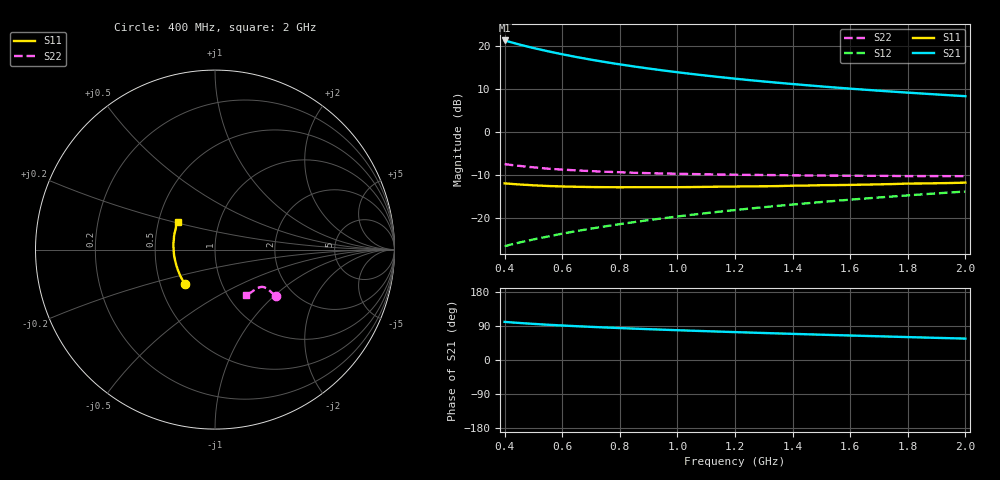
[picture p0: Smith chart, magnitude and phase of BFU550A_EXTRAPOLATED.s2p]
! File generated using interpolate_touchstone.py
! Bias conditions:
! Vcc = 2.99V
! Ic = 18.9mA
! Date: 2024-08-05 12:26:18.197340
! Created with skrf (http://scikit-rf.org).
# MHz S MA R 50.0
!freq magS11 angS11 magS21 angS21 magS12 angS12 magS22 angS22
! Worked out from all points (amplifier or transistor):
!   37 points, 400 MHz to 2 GHz, reference 50 ohm
!   highest |S21| = 21.2 dB at 400 MHz (marker M1)
!   |S21| within 3 dB of that: start of sweep to 586.2 MHz
!   unconditionally stable (mu >= 1): 1.065 GHz to 1.665 GHz
!   at 500 MHz: K = 0.92, MSG = 22.2 dB, |S12| = -24.8 dB
!   at 1.1 GHz: K = 1.00, MAG = 15.7 dB, |S12| = -18.8 dB
!   at 2 GHz: K = 0.99, MSG = 11.0 dB, |S12| = -13.8 dB
!   lowest NFmin = 0.99 dB at 420 MHz
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400  0.2551 -130.7  11.49 100.6  0.04782 70.1  0.426 -37.4
420  0.2522 -133.4  11.01 99.4  0.04972 70.3  0.4175 -37.4
440  0.2492 -136.1  10.55 98.3  0.0516 70.5  0.4099 -37.2
480  0.2445 -140.7  9.753 96.3  0.05534 70.9  0.3965 -37.2
500  0.2421 -143.0  9.396 95.3  0.05722 71.1  0.3911 -37.1
550  0.2377 -148.4  8.621 93.0  0.06186 71.5  0.377 -36.9
600  0.2348 -152.8  7.956 91.0  0.06672 71.7  0.3679 -36.9
650  0.2328 -157.1  7.384 89.2  0.07152 71.9  0.3601 -37.0
700  0.2311 -160.9  6.89 87.4  0.07633 72.1  0.3534 -37.1
750  0.2303 -164.6  6.456 85.8  0.08116 72.2  0.3476 -37.3
800  0.2298 -167.8  6.078 84.3  0.08599 72.2  0.3432 -37.6
850  0.2303 -171.1  5.741 82.8  0.09083 72.3  0.3381 -38.0
900  0.2301 -174.2  5.44 81.3  0.09573 72.2  0.3346 -38.3
950  0.2302 -176.9  5.171 80.0  0.1006 72.2  0.3318 -38.9
1050  0.231 177.9  4.704 77.3  0.1104 72.0  0.3268 -39.8
1100  0.2322 175.5  4.503 76.0  0.1153 71.8  0.3248 -40.4
1200  0.2342 170.8  4.15 73.6  0.1252 71.5  0.3211 -41.8
1350  0.2372 164.7  3.72 70.1  0.1401 70.8  0.3175 -43.9
1500  0.2428 158.8  3.375 66.8  0.155 70.0  0.3136 -46.4
1600  0.2447 155.3  3.181 64.6  0.1651 69.4  0.3128 -48.1
1750  0.2504 150.4  2.934 61.5  0.1801 68.4  0.3107 -50.8
2000  0.26 143.0  2.603 56.5  0.2052 66.6  0.309 -55.8
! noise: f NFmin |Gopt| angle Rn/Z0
400  1.042  0.2452  -166.1  0.08163
460  1.032  0.253  -166.5  0.07715
600  1.108  0.235  -158.9  0.09511
800  1.079  0.2817  -157.4  0.07887
1000  1.101  0.2954  -153.9  0.0793
1200  1.141  0.31  -146.9  0.08615
1400  1.181  0.3186  -143  0.09452
1600  1.207  0.3453  -135.3  0.1012
1800  1.233  0.3619  -132.7  0.1016
2000  1.263  0.3627  -127.4  0.1195
